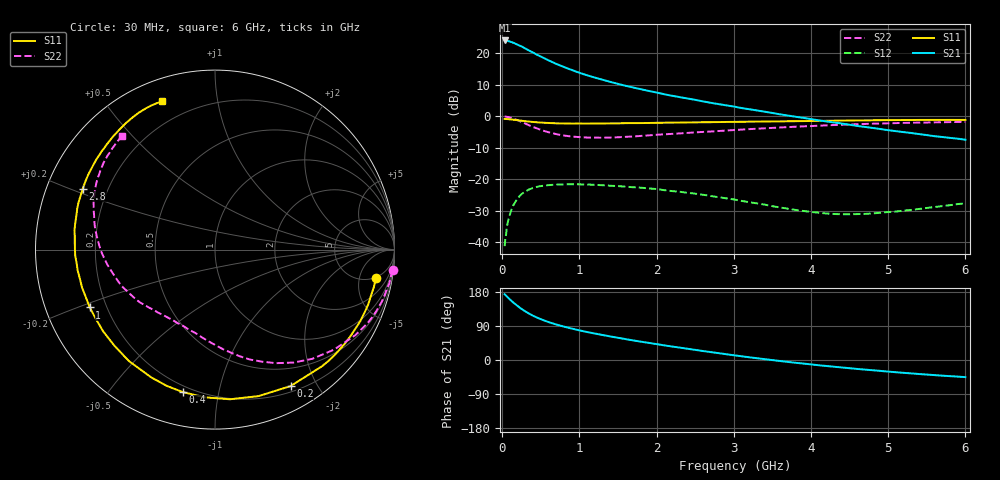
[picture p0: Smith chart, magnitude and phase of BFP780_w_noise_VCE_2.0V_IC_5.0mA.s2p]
! Infineon Technologies  Discrete & RF Semiconductors
! BFP780
! VCE =  2.0 V,  IC =  5.0 mA
! Common Emitter S-Parameters:  Jul 2015
# GHz  S  MA  R  50
!  f  S11  S21  S12  S22
! GHz  MAG  ANG  MAG  ANG  MAG  ANG  MAG  ANG
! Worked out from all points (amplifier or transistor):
!   75 points, 30 MHz to 6 GHz, reference 50 ohm
!   highest |S21| = 24.1 dB at 30 MHz (marker M1)
!   |S21| within 3 dB of that: start of sweep to 331.8 MHz
!   unconditionally stable (mu >= 1): 2.884 GHz to end of sweep
!   at 150 MHz: K = 0.02, MSG = 25.6 dB, |S12| = -27.9 dB
!   at 2.3 GHz: K = 0.66, MSG = 15.0 dB, |S12| = -23.9 dB
!   at 6 GHz: K = 2.09, MAG = 4.1 dB, |S12| = -27.6 dB
!   lowest NFmin = 0.72 dB at 450 MHz
!   S11 on the Smith chart (normalised r, x): 30 MHz: 4.73, -8.80; 200 MHz: 0.27, -1.67; 400 MHz: 0.17, -0.79; 1 GHz: 0.14, -0.22; 2.8 GHz: 0.11, +0.22; 6 GHz: 0.10, +0.70
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0.03  0.9102 -10.1  16.01 173.7  0.0087 83.4  0.9958 -6.6
0.06  0.9069 -19.8  15.88 167.5  0.0177 81.6  0.9821 -13.1
0.09  0.8977 -29.5  15.55 161.4  0.0255 74.2  0.9666 -19.4
0.12  0.8902 -38.7  15.08 155.7  0.0334 67.6  0.9436 -25.7
0.15  0.8819 -47.5  14.62 150.4  0.0401 62.7  0.9162 -31.3
0.2  0.8691 -61.0  13.68 142.3  0.0504 53.9  0.8668 -40.0
0.25  0.8517 -73.4  12.85 134.6  0.0585 46.9  0.815 -48.3
0.3  0.8381 -84.3  11.92 128.1  0.0645 40.5  0.7656 -55.3
0.4  0.814 -102.7  10.28 116.6  0.0732 30.3  0.6766 -67.3
0.5  0.7955 -116.6  8.885 107.6  0.0782 22.3  0.6084 -77.2
0.6  0.7847 -127.7  7.728 100.0  0.0809 15.9  0.5586 -85.1
0.7  0.775 -136.5  6.799 93.6  0.0827 10.3  0.5222 -91.8
0.8  0.7718 -143.9  6.064 88.0  0.0832 5.9  0.496 -98.1
1  0.7688 -155.2  4.908 78.2  0.0833 -1.8  0.4686 -108.2
1.1  0.767 -160.0  4.48 73.8  0.0828 -5.2  0.4608 -112.5
1.6  0.7794 -177.4  3.049 55.0  0.0765 -18.3  0.4729 -132.0
2.1  0.7921 169.9  2.242 38.6  0.0673 -28.4  0.5182 -147.2
2.8  0.8113 155.2  1.566 18.1  0.0522 -37.7  0.5844 -166.9
3.1  0.8201 149.5  1.355 9.8  0.0455 -39.3  0.616 -174.8
4.1  0.8471 132.6  0.864 -13.9  0.0295 -26.1  0.7106 162.1
5.1  0.8731 119.2  0.582 -32.3  0.0308 1.1  0.7811 143.7
6  0.878 109.7  0.426 -45.2  0.0417 9.5  0.817 129.3
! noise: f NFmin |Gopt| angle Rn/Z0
0.45  0.72  0.3  88  0.11
0.9  0.88  0.34  112  0.11
1.5  1.2  0.46  153  0.07
1.8  1.51  0.5  166  0.06
2.4  1.86  0.56  -178  0.08
3  2.44  0.62  -161  0.14
3.5  3.41  0.66  -147  0.29
